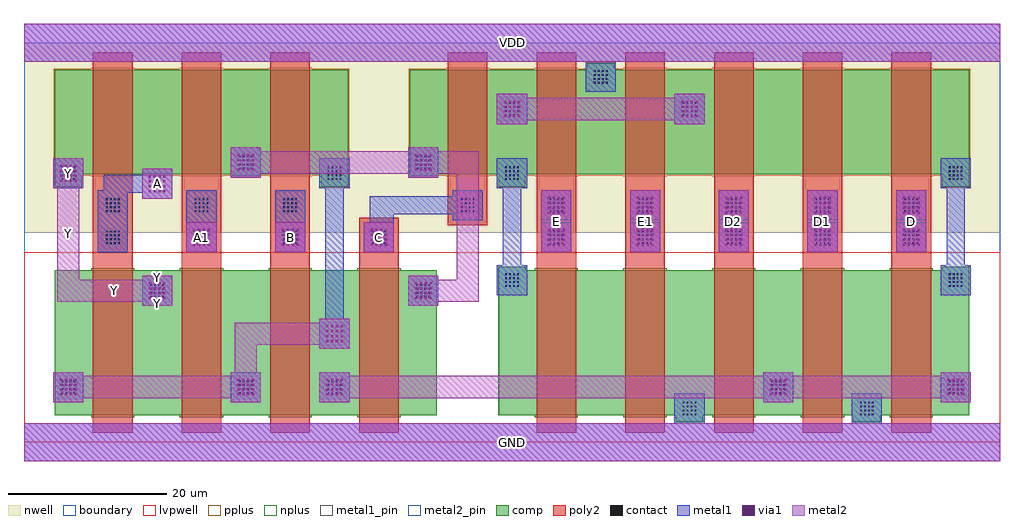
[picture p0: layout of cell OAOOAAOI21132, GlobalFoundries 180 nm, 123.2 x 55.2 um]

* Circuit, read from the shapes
.subckt OAOOAAOI21132 A A1 B C D D1 D2 E E1 GND VDD Y
XM1 Y A n1 VSUBS nfet_03v3 w=18.3u l=5u
XM2 n1 A1 Y VSUBS nfet_03v3 w=18.3u l=5u
XM3 n2 B n1 VSUBS nfet_03v3 w=18.3u l=5u
XM4 n3 C n2 VSUBS nfet_03v3 w=18.3u l=5u
XM5 n4 E n5 VSUBS nfet_03v3 w=18.3u l=5u
XM6 GND E1 n4 VSUBS nfet_03v3 w=18.3u l=5u
XM7 n2 D2 GND VSUBS nfet_03v3 w=18.3u l=5u
XM8 GND D1 n2 VSUBS nfet_03v3 w=18.3u l=5u
XM9 n2 D GND VSUBS nfet_03v3 w=18.3u l=5u
XM10 n6 A Y n7 pfet_03v3 w=13.2u l=5u
XM11 n3 A1 n6 n7 pfet_03v3 w=13.2u l=5u
XM12 n1 B n3 n7 pfet_03v3 w=13.2u l=5u
XM13 n5 C n3 n7 pfet_03v3 w=13.2u l=5u
XM14 VDD E n5 n7 pfet_03v3 w=13.2u l=5u
XM15 n5 E1 VDD n7 pfet_03v3 w=13.2u l=5u
XM16 n8 D2 n5 n7 pfet_03v3 w=13.2u l=5u
XM17 n9 D1 n8 n7 pfet_03v3 w=13.2u l=5u
XM18 n2 D n9 n7 pfet_03v3 w=13.2u l=5u
.ends

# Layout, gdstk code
import gdstk
lib = gdstk.Library(unit=1e-6, precision=1e-09)
def R(c, l, rs):  # rectangles x0, y0, x1, y1
    for r in rs: c.add(gdstk.rectangle(r[:2], r[2:], *l))
def A(c, l, x, y, w, h, nx, ny, dx, dy):  # array of equal rectangles
    R(c, l, [(x+i*dx, y+j*dy, x+i*dx+w, y+j*dy+h) for i in range(nx) for j in range(ny)])
boundary = (0, 0)
nwell = (21, 0)
comp = (22, 0)
poly2 = (30, 0)
pplus = (31, 0)
nplus = (32, 0)
contact = (33, 0)
metal1 = (34, 0)
metal1_pin = (34, 10)
via1 = (35, 0)
metal2 = (36, 0)
metal2_pin = (36, 10)
lvpwell = (204, 0)

oaooaaoi21132 = lib.new_cell('OAOOAAOI21132')
R(oaooaaoi21132, boundary, [(0,0,123.2,50.4)])
R(oaooaaoi21132, nwell, [(0,26.45,123.2,50.4)])
R(oaooaaoi21132, comp, [(82.3,2.55,85.7,3.4), (104.7,2.55,108.1,3.4), (3.9,3.4,52.1,21.7), (59.9,3.4,119.3,21.7), (59.9,21.7,63.3,22.15), (115.9,21.7,119.3,22.15), (3.9,32.25,7.3,33.8), (37.5,32.25,40.9,33.8), (59.9,32.25,63.3,33.8), (115.9,32.25,119.3,33.8), (26.3,33.6,29.7,33.8), (48.7,33.6,52.1,33.8), (3.9,33.8,40.9,47), (48.7,33.8,119.3,47), (71.1,47,74.5,47.8)])
A(oaooaaoi21132, poly2, 8.7, 1.2, 5, 48, 3, 1, 11.2, 0)
A(oaooaaoi21132, poly2, 64.7, 1.2, 5, 48, 5, 1, 11.2, 0)
R(oaooaaoi21132, poly2, [(42.3,1.2,47.3,28.35), (53.5,27.4,58.5,49.2)])
A(oaooaaoi21132, pplus, 8.47, 33.57, 5.46, 0.07, 3, 2, 11.2, 13.59)
A(oaooaaoi21132, pplus, 53.27, 33.57, 5.46, 0.07, 6, 2, 11.2, 13.59)
R(oaooaaoi21132, pplus, [(3.74,32.09,7.46,33.64), (37.34,32.09,41.06,33.64), (59.74,32.09,63.46,33.64), (115.74,32.09,119.46,33.64), (26.14,33.44,29.86,33.64), (48.54,33.44,52.26,33.64), (3.74,33.64,41.06,47.16), (48.54,33.64,119.46,47.16), (70.94,47.16,74.66,47.96)])
A(oaooaaoi21132, nplus, 8.47, 3.17, 5.46, 0.21, 4, 2, 11.2, 18.55)
A(oaooaaoi21132, nplus, 64.47, 3.17, 5.46, 0.21, 5, 2, 11.2, 18.55)
R(oaooaaoi21132, nplus, [(82.28,2.53,85.72,3.38), (104.68,2.53,108.12,3.38), (3.88,3.38,52.12,21.72), (59.88,3.38,119.32,21.72), (59.88,21.72,63.32,22.17), (115.88,21.72,119.32,22.17)])
A(oaooaaoi21132, contact, 83.14, 3.39, 0.22, 0.22, 4, 4, 0.5, 0.5)
A(oaooaaoi21132, contact, 105.54, 3.39, 0.22, 0.22, 4, 4, 0.5, 0.5)
A(oaooaaoi21132, contact, 4.74, 6.09, 0.22, 0.22, 4, 4, 0.5, 0.5)
A(oaooaaoi21132, contact, 27.14, 6.09, 0.22, 0.22, 4, 4, 0.5, 0.5)
A(oaooaaoi21132, contact, 38.34, 6.09, 0.22, 0.22, 4, 4, 0.5, 0.5)
A(oaooaaoi21132, contact, 94.34, 6.09, 0.22, 0.22, 4, 4, 0.5, 0.5)
A(oaooaaoi21132, contact, 116.74, 6.09, 0.22, 0.22, 4, 4, 0.5, 0.5)
A(oaooaaoi21132, contact, 15.94, 18.24, 0.22, 0.22, 4, 4, 0.5, 0.5)
A(oaooaaoi21132, contact, 49.54, 18.24, 0.22, 0.22, 4, 4, 0.5, 0.5)
A(oaooaaoi21132, contact, 60.74, 19.59, 0.22, 0.22, 4, 4, 0.5, 0.5)
A(oaooaaoi21132, contact, 116.74, 19.59, 0.22, 0.22, 4, 4, 0.5, 0.5)
A(oaooaaoi21132, contact, 10.34, 24.99, 0.22, 0.22, 4, 4, 0.5, 0.5)
A(oaooaaoi21132, contact, 21.54, 24.99, 0.22, 0.22, 4, 4, 0.5, 0.5)
A(oaooaaoi21132, contact, 32.74, 24.99, 0.22, 0.22, 4, 4, 0.5, 0.5)
A(oaooaaoi21132, contact, 43.94, 24.99, 0.22, 0.22, 4, 4, 0.5, 0.5)
A(oaooaaoi21132, contact, 66.34, 24.99, 0.22, 0.22, 4, 4, 0.5, 0.5)
A(oaooaaoi21132, contact, 77.54, 24.99, 0.22, 0.22, 4, 4, 0.5, 0.5)
A(oaooaaoi21132, contact, 88.74, 24.99, 0.22, 0.22, 4, 4, 0.5, 0.5)
A(oaooaaoi21132, contact, 99.94, 24.99, 0.22, 0.22, 4, 4, 0.5, 0.5)
A(oaooaaoi21132, contact, 111.14, 24.99, 0.22, 0.22, 4, 4, 0.5, 0.5)
A(oaooaaoi21132, contact, 10.34, 29.04, 0.22, 0.22, 4, 4, 0.5, 0.5)
A(oaooaaoi21132, contact, 21.54, 29.04, 0.22, 0.22, 4, 4, 0.5, 0.5)
A(oaooaaoi21132, contact, 32.74, 29.04, 0.22, 0.22, 4, 4, 0.5, 0.5)
A(oaooaaoi21132, contact, 55.14, 29.04, 0.22, 0.22, 4, 4, 0.5, 0.5)
A(oaooaaoi21132, contact, 66.34, 29.04, 0.22, 0.22, 4, 4, 0.5, 0.5)
A(oaooaaoi21132, contact, 77.54, 29.04, 0.22, 0.22, 4, 4, 0.5, 0.5)
A(oaooaaoi21132, contact, 88.74, 29.04, 0.22, 0.22, 4, 4, 0.5, 0.5)
A(oaooaaoi21132, contact, 99.94, 29.04, 0.22, 0.22, 4, 4, 0.5, 0.5)
A(oaooaaoi21132, contact, 111.14, 29.04, 0.22, 0.22, 4, 4, 0.5, 0.5)
A(oaooaaoi21132, contact, 4.74, 33.09, 0.22, 0.22, 4, 4, 0.5, 0.5)
A(oaooaaoi21132, contact, 38.34, 33.09, 0.22, 0.22, 4, 4, 0.5, 0.5)
A(oaooaaoi21132, contact, 60.74, 33.09, 0.22, 0.22, 4, 4, 0.5, 0.5)
A(oaooaaoi21132, contact, 116.74, 33.09, 0.22, 0.22, 4, 4, 0.5, 0.5)
A(oaooaaoi21132, contact, 27.14, 34.44, 0.22, 0.22, 4, 4, 0.5, 0.5)
A(oaooaaoi21132, contact, 49.54, 34.44, 0.22, 0.22, 4, 4, 0.5, 0.5)
A(oaooaaoi21132, contact, 60.74, 41.19, 0.22, 0.22, 4, 4, 0.5, 0.5)
A(oaooaaoi21132, contact, 83.14, 41.19, 0.22, 0.22, 4, 4, 0.5, 0.5)
A(oaooaaoi21132, contact, 71.94, 45.24, 0.22, 0.22, 4, 4, 0.5, 0.5)
A(oaooaaoi21132, metal1, 115.7, 5.05, 3.8, 3.8, 1, 3, 0, 13.5)
A(oaooaaoi21132, metal1, 65.3, 23.95, 3.8, 3.8, 5, 2, 11.2, 4.05)
R(oaooaaoi21132, metal1, [(0,-2.4,123.2,2.4), (82.1,2.4,85.9,6.15), (104.5,2.4,108.3,6.15), (3.7,5.05,7.5,8.85), (26.1,5.05,29.9,8.85), (37.3,5.05,41.1,8.85), (93.3,5.05,97.1,8.85), (37.3,11.8,41.1,15.6), (38.05,15.6,40.35,32.05), (14.9,17.2,18.7,21), (48.5,17.2,52.3,21), (59.7,18.55,63.5,22.35), (60.45,22.35,62.75,32.05), (116.45,22.35,118.75,32.05), (9.3,23.95,13.1,31.45), (20.5,23.95,24.3,31.8), (31.7,23.95,35.5,31.8), (42.9,23.95,46.7,27.75), (43.65,27.75,46.7,28.75), (54.1,28,57.9,28.75), (43.65,28.75,57.9,31.05), (14.9,30.7,18.7,31.45), (54.1,31.05,57.9,31.8), (9.3,31.45,18.7,31.8), (10.05,31.8,18.7,33.75), (3.7,32.05,7.5,35.85), (37.3,32.05,41.1,35.85), (59.7,32.05,63.5,35.85), (26.1,33.4,29.9,37.2), (48.5,33.4,52.3,37.2), (14.9,33.75,18.7,34.5), (59.7,40.15,63.5,43.95), (82.1,40.15,85.9,43.95), (70.9,44.2,74.7,48), (0,48,123.2,52.8)])
R(oaooaaoi21132, metal1_pin, [(0,-2.4,123.2,2.4), (0,48,123.2,52.8)])
A(oaooaaoi21132, via1, 4.54, 5.89, 0.26, 0.26, 4, 4, 0.62, 0.62)
A(oaooaaoi21132, via1, 26.94, 5.89, 0.26, 0.26, 4, 4, 0.62, 0.62)
A(oaooaaoi21132, via1, 38.14, 5.89, 0.26, 0.26, 4, 4, 0.62, 0.62)
A(oaooaaoi21132, via1, 94.14, 5.89, 0.26, 0.26, 4, 4, 0.62, 0.62)
A(oaooaaoi21132, via1, 116.54, 5.89, 0.26, 0.26, 4, 4, 0.62, 0.62)
A(oaooaaoi21132, via1, 38.14, 12.64, 0.26, 0.26, 4, 4, 0.62, 0.62)
A(oaooaaoi21132, via1, 15.74, 18.04, 0.26, 0.26, 4, 4, 0.62, 0.62)
A(oaooaaoi21132, via1, 49.34, 18.04, 0.26, 0.26, 4, 4, 0.62, 0.62)
A(oaooaaoi21132, via1, 21.34, 24.79, 0.26, 0.26, 4, 4, 0.62, 0.62)
A(oaooaaoi21132, via1, 32.54, 24.79, 0.26, 0.26, 4, 4, 0.62, 0.62)
A(oaooaaoi21132, via1, 43.74, 24.79, 0.26, 0.26, 4, 4, 0.62, 0.62)
A(oaooaaoi21132, via1, 66.14, 24.79, 0.26, 0.26, 4, 4, 0.62, 0.62)
A(oaooaaoi21132, via1, 77.34, 24.79, 0.26, 0.26, 4, 4, 0.62, 0.62)
A(oaooaaoi21132, via1, 88.54, 24.79, 0.26, 0.26, 4, 4, 0.62, 0.62)
A(oaooaaoi21132, via1, 99.74, 24.79, 0.26, 0.26, 4, 4, 0.62, 0.62)
A(oaooaaoi21132, via1, 110.94, 24.79, 0.26, 0.26, 4, 4, 0.62, 0.62)
A(oaooaaoi21132, via1, 66.14, 28.84, 0.26, 0.26, 4, 4, 0.62, 0.62)
A(oaooaaoi21132, via1, 77.34, 28.84, 0.26, 0.26, 4, 4, 0.62, 0.62)
A(oaooaaoi21132, via1, 88.54, 28.84, 0.26, 0.26, 4, 4, 0.62, 0.62)
A(oaooaaoi21132, via1, 99.74, 28.84, 0.26, 0.26, 4, 4, 0.62, 0.62)
A(oaooaaoi21132, via1, 110.94, 28.84, 0.26, 0.26, 4, 4, 0.62, 0.62)
A(oaooaaoi21132, via1, 15.74, 31.54, 0.26, 0.26, 4, 4, 0.62, 0.62)
A(oaooaaoi21132, via1, 4.54, 32.89, 0.26, 0.26, 4, 4, 0.62, 0.62)
A(oaooaaoi21132, via1, 26.94, 34.24, 0.26, 0.26, 4, 4, 0.62, 0.62)
A(oaooaaoi21132, via1, 49.34, 34.24, 0.26, 0.26, 4, 4, 0.62, 0.62)
A(oaooaaoi21132, via1, 60.54, 40.99, 0.26, 0.26, 4, 4, 0.62, 0.62)
A(oaooaaoi21132, via1, 82.94, 40.99, 0.26, 0.26, 4, 4, 0.62, 0.62)
A(oaooaaoi21132, metal2, 20.5, 23.95, 3.8, 3.8, 3, 1, 11.2, 0)
A(oaooaaoi21132, metal2, 65.3, 23.95, 3.8, 7.85, 5, 1, 11.2, 0)
R(oaooaaoi21132, metal2, [(0,-2.4,123.2,2.4), (3.7,5.05,7.5,5.55), (26.1,5.05,29.9,5.55), (37.3,5.05,41.1,5.55), (93.3,5.05,97.1,5.55), (115.7,5.05,119.5,5.55), (3.7,5.55,29.9,8.35), (37.3,5.55,119.5,8.35), (3.7,8.35,7.5,8.85), (26.1,8.35,29.9,8.85), (37.3,8.35,41.1,8.85), (93.3,8.35,97.1,8.85), (115.7,8.35,119.5,8.85), (26.6,8.85,29.4,12.3), (37.3,11.8,41.1,12.3), (26.6,12.3,41.1,15.1), (37.3,15.1,41.1,15.6), (14.9,17.2,18.7,17.7), (48.5,17.2,52.3,17.7), (4.2,17.7,18.7,20.5), (48.5,17.7,57.4,20.5), (4.2,20.5,7,32.05), (14.9,20.5,18.7,21), (48.5,20.5,52.3,21), (54.6,20.5,57.4,33.9), (14.9,30.7,18.7,34.5), (3.7,32.05,7.5,35.85), (26.1,33.4,29.9,33.9), (48.5,33.4,52.3,33.9), (26.1,33.9,57.4,36.7), (26.1,36.7,29.9,37.2), (48.5,36.7,52.3,37.2), (59.7,40.15,63.5,40.65), (82.1,40.15,85.9,40.65), (59.7,40.65,85.9,43.45), (59.7,43.45,63.5,43.95), (82.1,43.45,85.9,43.95), (0,48,123.2,52.8)])
A(oaooaaoi21132, metal2_pin, 20.5, 23.95, 3.8, 3.8, 3, 1, 11.2, 0)
A(oaooaaoi21132, metal2_pin, 65.3, 23.95, 3.8, 7.85, 5, 1, 11.2, 0)
R(oaooaaoi21132, metal2_pin, [(14.9,17.2,18.7,17.7), (4.2,17.7,18.7,20.5), (4.2,20.5,7,32.05), (14.9,20.5,18.7,21), (14.9,30.7,18.7,34.5), (3.7,32.05,7.5,35.85)])
R(oaooaaoi21132, lvpwell, [(0,0,123.2,23.95)])
oaooaaoi21132.add(gdstk.Label('VDD', (61.6,50.4), layer=34, texttype=10))
oaooaaoi21132.add(gdstk.Label('GND', (61.6,0), layer=34, texttype=10))
oaooaaoi21132.add(gdstk.Label('Y', (16.8,17.45), layer=36, texttype=10))
oaooaaoi21132.add(gdstk.Label('Y', (11.45,19.1), layer=36, texttype=10))
oaooaaoi21132.add(gdstk.Label('Y', (16.8,20.75), layer=36, texttype=10))
oaooaaoi21132.add(gdstk.Label('Y', (5.6,26.275), layer=36, texttype=10))
oaooaaoi21132.add(gdstk.Label('Y', (5.6,33.95), layer=36, texttype=10))
oaooaaoi21132.add(gdstk.Label('A', (16.8,32.6), layer=36, texttype=10))
oaooaaoi21132.add(gdstk.Label('D2', (89.6,27.875), layer=36, texttype=10))
oaooaaoi21132.add(gdstk.Label('D', (112,27.875), layer=36, texttype=10))
oaooaaoi21132.add(gdstk.Label('D1', (100.8,27.875), layer=36, texttype=10))
oaooaaoi21132.add(gdstk.Label('B', (33.6,25.85), layer=36, texttype=10))
oaooaaoi21132.add(gdstk.Label('A1', (22.4,25.85), layer=36, texttype=10))
oaooaaoi21132.add(gdstk.Label('E', (67.2,27.875), layer=36, texttype=10))
oaooaaoi21132.add(gdstk.Label('C', (44.8,25.85), layer=36, texttype=10))
oaooaaoi21132.add(gdstk.Label('E1', (78.4,27.875), layer=36, texttype=10))

lib.write_gds('OAOOAAOI21132.gds')
